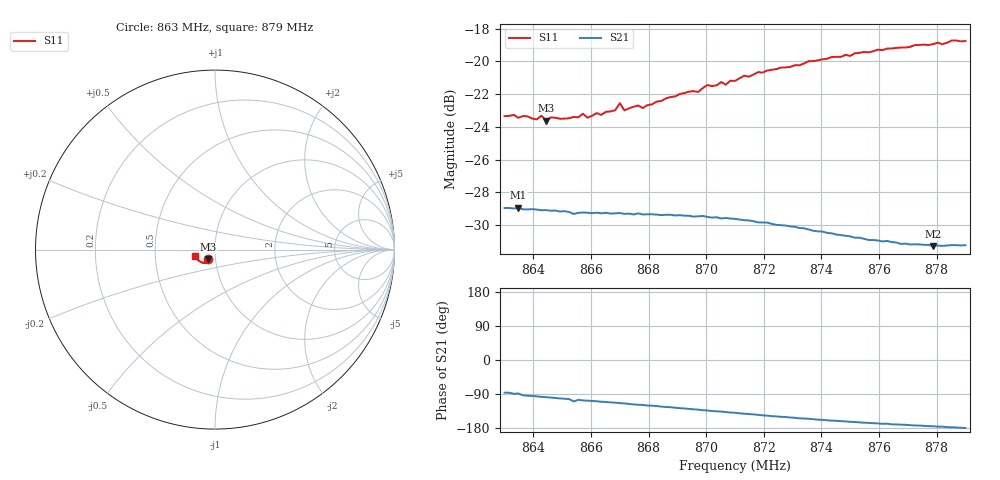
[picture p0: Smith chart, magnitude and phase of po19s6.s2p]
# HZ S RI R 50
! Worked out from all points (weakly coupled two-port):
!   101 points, 863 MHz to 879 MHz, reference 50 ohm
!   highest |S21| = -28.94 dB at 863.48 MHz (marker M1); lowest = -31.3 dB at 877.88 MHz (marker M2)
!   lowest |S11| = -23.6 dB at 864.44 MHz (marker M3), VSWR 1.14, Z = 46.1 - j4.98 ohm
!   |S11| at or under -10 dB: start of sweep to end of sweep
!   S12 and S22 are empty: the file has one direction only
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8.63e8  -0.0416 -0.0539  0.00234 -0.0355  0 0  0 0
8.6348e8  -0.0387 -0.055  0.00094 -0.0357  0 0  0 0
8.6412e8  -0.0384 -0.0544  -0.0036 -0.035  0 0  0 0
8.6428e8  -0.0392 -0.0558  -0.00449 -0.0348  0 0  0 0
8.6444e8  -0.0381 -0.0539  -0.00494 -0.0348  0 0  0 0
8.646e8  -0.0379 -0.0558  -0.00551 -0.0345  0 0  0 0
8.6556e8  -0.0363 -0.0569  -0.00898 -0.0333  0 0  0 0
8.6572e8  -0.0365 -0.0588  -0.00991 -0.0331  0 0  0 0
8.6588e8  -0.0349 -0.0576  -0.0102 -0.0329  0 0  0 0
8.6684e8  -0.0346 -0.0619  -0.0132 -0.0317  0 0  0 0
8.67e8  -0.0411 -0.0621  -0.0139 -0.0315  0 0  0 0
8.6716e8  -0.0348 -0.0617  -0.0143 -0.0311  0 0  0 0
8.6844e8  -0.0376 -0.0657  -0.0184 -0.0284  0 0  0 0
8.694e8  -0.0414 -0.0694  -0.0213 -0.0262  0 0  0 0
8.6972e8  -0.0413 -0.0693  -0.022 -0.0254  0 0  0 0
8.7004e8  -0.0439 -0.0724  -0.0229 -0.0244  0 0  0 0
8.71e8  -0.049 -0.0722  -0.025 -0.0216  0 0  0 0
8.718e8  -0.0558 -0.0741  -0.0263 -0.0187  0 0  0 0
8.7372e8  -0.0685 -0.0732  -0.0278 -0.0123  0 0  0 0
8.7644e8  -0.0915 -0.0602  -0.0276 -0.00497  0 0  0 0
8.7788e8  -0.102 -0.0485  -0.0271 -0.00243  0 0  0 0
8.79e8  -0.109 -0.0382  -0.0274 -0.000253  0 0  0 0
